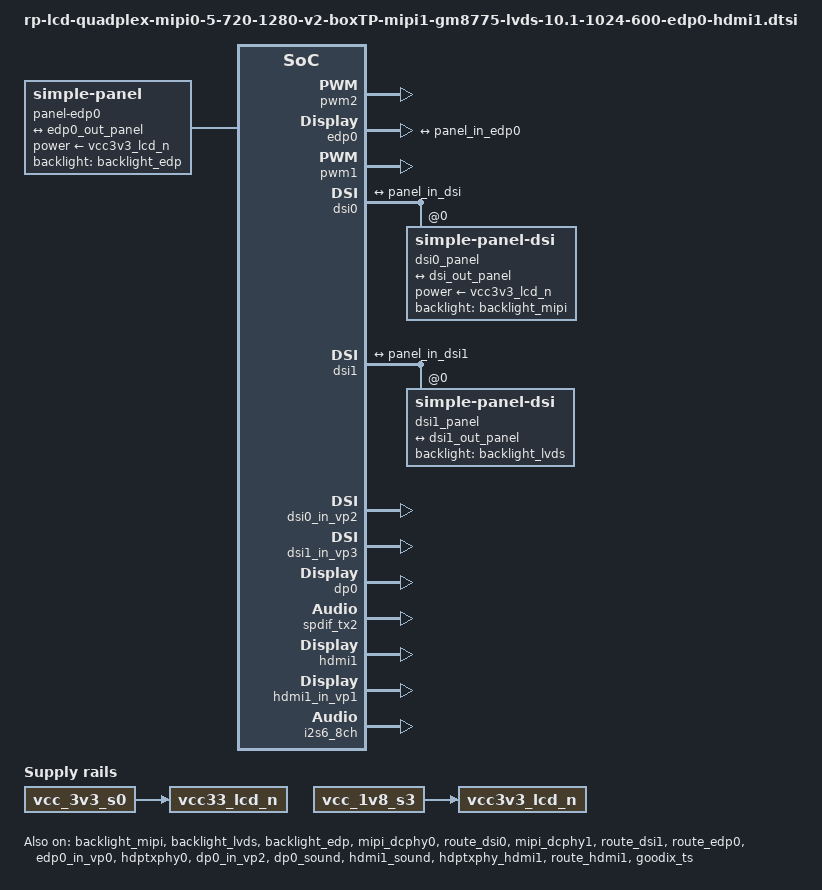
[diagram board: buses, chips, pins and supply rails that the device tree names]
/ {
    vcc33_lcd_n: vcc33-lcd-n {
		compatible = "regulator-fixed";
        regulator-name = "vcc33_lcd";
        regulator-boot-on;
        enable-active-high;
        vin-supply = <&vcc_3v3_s0>;
	};
    
    
    panel-edp0 {
        compatible = "simple-panel";
        backlight = <&backlight_edp>;
        power-supply = <&vcc3v3_lcd_n>;
    init-delay-ms = <120>;
        prepare-delay-ms = <120>;
        enable-delay-ms = <120>;
        unprepare-delay-ms = <120>;
        disable-delay-ms = <120>;
        width-mm = <129>;
        height-mm = <171>;

        panel-timing {
                        clock-frequency = <150000000>;
                        hactive = <1920>;
                        vactive = <1080>;
                        hfront-porch = <160>;
                        hsync-len = <32>;
                        hback-porch = <160>;
                        vfront-porch = <3>;
                        vsync-len = <5>;
                        vback-porch = <23>;
                        hsync-active = <0>;
                        vsync-active = <0>;
                        de-active = <0>;
                        pixelclk-active = <0>;
        };

        port {
            panel_in_edp0: endpoint {
                remote-endpoint = <&edp0_out_panel>;
            };
        };
    };

};


&backlight_mipi {
        compatible = "pwm-backlight";
        //pwms = <&pwm1 0 25000 0>;
        status = "okay";
        brightness-levels = <
              0  20  20  21  21  22  22  23
             23  24  24  25  25  26  26  27
             27  28  28  29  29  30  30  31
             31  32  32  33  33  34  34  35
             35  36  36  37  37  38  38  39
             40  41  42  43  44  45  46  47
             48  49  50  51  52  53  54  55
             56  57  58  59  60  61  62  63
             64  65  66  67  68  69  70  71
             72  73  74  75  76  77  78  79
             80  81  82  83  84  85  86  87
             88  89  90  91  92  93  94  95
             96  97  98  99 100 101 102 103
            104 105 106 107 108 109 110 111
            112 113 114 115 116 117 118 119
            120 121 122 123 124 125 126 127
            128 129 130 131 132 133 134 135
            136 137 138 139 140 141 142 143
            144 145 146 147 148 149 150 151
            152 153 154 155 156 157 158 159
            160 161 162 163 164 165 166 167
            168 169 170 171 172 173 174 175
            176 177 178 179 180 181 182 183
            184 185 186 187 188 189 190 191
            192 193 194 195 196 197 198 199
            200 201 202 203 204 205 206 207
            208 209 210 211 212 213 214 215
            216 217 218 219 220 221 222 223
            224 225 226 227 228 229 230 231
            232 233 234 235 236 237 238 239
            240 241 242 243 244 245 246 247
            248 249 250 251 252 253 254 255
        >;
        default-brightness-level = <200>;
    };


&pwm2 {
    status = "okay";
    pinctrl-0 = <&pwm2m1_pins>;
};
&backlight_lvds {
        compatible = "pwm-backlight";
        pwms = <&pwm2 0 25000 0>;
        status = "okay";
        brightness-levels = <
            80 82 84 86 88 90 92 94
            100 100 100 100 100 100 100 100
            110 110 110 110 110 110 110 110
            120 120 120 120 120 120 120 120
            130 130 130 130 130 130 130 130
            140 150 150 150 150 150 150 150
            170 170 170 170 170 170 170 170
            170 170 170 170 170 170 170 170
            180 180 180 180 180 180 180 180
            180 180 180 180 180 180 180 180
            190 190 190 190 190 190 190 190
            190 190 190 190 190 190 190 190
            200 200 200 200 200 200 200 200
            200 200 200 200 200 200 200 200
            200 200 200 200 200 200 200 200
            200 200 200 200 200 200 200 200
            200 200 200 200 200 200 200 200
            200 200 200 200 200 200 200 200
            200 200 200 200 200 200 200 200
            210 210 210 210 210 210 210 210
            220 220 220 220 220 220 220 220
            220 220 220 220 220 220 220 220
            220 220 220 220 220 220 220 220
            230 230 230 230 230 230 230 230
            230 230 230 230 230 230 230 230
            230 230 230 230 230 230 230 230
            240 240 240 240 240 240 240 240
            240 240 240 240 240 240 240 240
            240 240 240 240 240 240 240 240
            240 240 240 240 240 240 240 240
            240 241 242 243 244 245 246 247
            248 249 250 251 252 253 254 255
        >;
        default-brightness-level = <200>;
    };


&backlight_edp {
        compatible = "pwm-backlight";
        pwms = <&pwm0 0 25000 1>;
        status = "okay";
        brightness-levels = <
            80 82 84 86 88 90 92 94
            100 100 100 100 100 100 100 100
            110 110 110 110 110 110 110 110
            120 120 120 120 120 120 120 120
            130 130 130 130 130 130 130 130
            140 150 150 150 150 150 150 150
            170 170 170 170 170 170 170 170
            170 170 170 170 170 170 170 170
            180 180 180 180 180 180 180 180
            180 180 180 180 180 180 180 180
            190 190 190 190 190 190 190 190
            190 190 190 190 190 190 190 190
            200 200 200 200 200 200 200 200
            200 200 200 200 200 200 200 200
            200 200 200 200 200 200 200 200
            200 200 200 200 200 200 200 200
            200 200 200 200 200 200 200 200
            200 200 200 200 200 200 200 200
            200 200 200 200 200 200 200 200
            210 210 210 210 210 210 210 210
            220 220 220 220 220 220 220 220
            220 220 220 220 220 220 220 220
            220 220 220 220 220 220 220 220
            230 230 230 230 230 230 230 230
            230 230 230 230 230 230 230 230
            230 230 230 230 230 230 230 230
            240 240 240 240 240 240 240 240
            240 240 240 240 240 240 240 240
            240 240 240 240 240 240 240 240
            240 240 240 240 240 240 240 240
            240 241 242 243 244 245 246 247
            248 249 250 251 252 253 254 255
        >;
        default-brightness-level = <200>;
};

&edp0 {
    force-hpd;
    status = "okay";

    ports {
        port@1 {
            reg = <1>;

            edp0_out_panel: endpoint {
                remote-endpoint = <&panel_in_edp0>;
            };
        };
    };
};


&vcc3v3_lcd_n {
  compatible = "regulator-fixed";
  regulator-name = "vcc3v3_lcd0_n";
  regulator-boot-on;
  enable-active-high;
  //gpio = <&gpio4 RK_PC2 GPIO_ACTIVE_HIGH>;
  vin-supply = <&vcc_1v8_s3>;
};

&pwm1 {
    status = "okay";
    pinctrl-0 = <&pwm1m1_pins>;
};





&dsi0 {
    status = "okay";
    //rockchip,lane-rate = <480000>;
    dsi0_panel: panel@0 {
        status = "okay";
        compatible = "simple-panel-dsi";
        reg = <0>;
        power-supply = <&vcc3v3_lcd_n>;
        //reset-gpios = <&gpio4 RK_PC6 GPIO_ACTIVE_LOW>;
        //pinctrl-names = "default";
        //pinctrl-0 = <&lcd_rst_gpio>;
        backlight = <&backlight_mipi>;
    init-delay-ms = <60>;
        reset-delay-ms = <60>;
        enable-delay-ms = <60>;
        prepare-delay-ms = <60>;
        unprepare-delay-ms = <60>;
        disable-delay-ms = <60>;
        dsi,flags = <(MIPI_DSI_MODE_VIDEO | MIPI_DSI_MODE_VIDEO_BURST |
            MIPI_DSI_MODE_LPM | MIPI_DSI_MODE_EOT_PACKET)>;
        dsi,format = <MIPI_DSI_FMT_RGB888>;
        dsi,lanes  = <4>;

        panel-init-sequence = [
            39 00 04 B9 F1 12 83

            39 00 1C BA 33 81 05 F9 0E 0E 20 00 00 00 00 00 00 00 44 25 00 91 0A 00 00 02 4F D1 00 00 37

            39 00 02 B8 26

            39 00 04 BF 02 10 00

            39 00 0B B3 07 0B 1E 1E 03 FF 00 00 00 00

            39 00 0A C0 73 73 50 50 00 00 08 70 00

            39 00 02 BC 46

            39 00 02 CC 0B

            39 00 02 B4 80

            39 00 04 B2 C8 12 A0

            39 00 0F E3 07 07 0B 0B 03 0B 00 00 00 00 FF 80 C0 10

            39 00 0D C1 53 00 32 32 77 F1 FF FF CC CC 77 77

            39 00 03 B5 09 09

            39 00 03 B6 B7 B7

            39 00 40 E9 C2 10 0A 00 00 81 80 12 30 00 37 86 81 80 37 18 00 05 00 00 00 00 00 05 00 00 00 00 F8 BA 46 02 08 28 88 88 88 88 88 F8 BA 57 13 18 38 88 88 88 88 88 00 00 00 03 00 00 00 00 00 00 00 00 00

            39 00 3E EA 07 12 01 01 02 3C 00 00 00 00 00 00 8F BA 31 75 38 18 88 88 88 88 88 8F BA 20 64 28 08 88 88 88 88 88 23 10 00 00 04 00 00 00 00 00 00 00 00 00 00 00 00 00 00 00 00 00 00 00 00 00 00

            39 00 23 E0 00 02 04 1A 23 3F 2C 28 05 09 0B 10 11 10 12 12 19 00 02 04 1A 23 3F 2C 28 05 09 0B 10 11 10 12 12 19

            05 ff 01 11 ////Sleep Out

            05 32 01 29 ///Display On
        ];

        panel-exit-sequence = [
            05 78 01 28
            05 78 01 10
        ];

        disp_timings1: display-timings {
            native-mode = <&dsi0_timing0>;
            dsi0_timing0: timing0 {
                               clock-frequency = <50000000>;
                                hactive = <720>;
                                vactive = <1280>;
                                hback-porch = <40>;
                                hfront-porch = <40>;
                                vback-porch = <11>;
                                vfront-porch = <16>;
                                hsync-len = <10>;
                                vsync-len = <3>;
                hsync-active = <0>;
                vsync-active = <0>;
                de-active = <0>;
                pixelclk-active = <0>;   
                
                
                
            };
        };

        ports {
            #address-cells = <1>;
            #size-cells = <0>;

            port@0 {
                reg = <0>;
                panel_in_dsi: endpoint {
                    remote-endpoint = <&dsi_out_panel>;
                };
            };
        };
    };

    ports {
        #address-cells = <1>;
        #size-cells = <0>;

        port@1{
            reg = <1>;
            dsi_out_panel: endpoint {
                remote-endpoint = <&panel_in_dsi>;
            };
        };
    };

};

&dsi1 {
    status = "okay";

    rockchip,lane-rate = <444000>;
    dsi1_panel: panel@0 {
        status = "okay";
        compatible = "simple-panel-dsi";
        reg = <0>;

//enable-gpios = <&gpio3 RK_PC6 GPIO_ACTIVE_LOW>;

     /*note: dsi0 uses the same pin,so dsi can not be configed*/
        /delete-property/ reset-gpios;
       /delete-property/ pinctrl-names;
        /delete-property/ pinctrl-0;

        backlight = <&backlight_lvds>;
    init-delay-ms = <60>;
        reset-delay-ms = <60>;
        enable-delay-ms = <60>;
        prepare-delay-ms = <60>;
        unprepare-delay-ms = <60>;
        disable-delay-ms = <60>;
        dsi,flags = <(MIPI_DSI_MODE_VIDEO | MIPI_DSI_MODE_VIDEO_BURST |
            MIPI_DSI_MODE_LPM | MIPI_DSI_MODE_EOT_PACKET)>;
        dsi,format = <MIPI_DSI_FMT_RGB888>;
        dsi,lanes  = <4>;
        
        panel-init-sequence = [
                       
                        23 08 02 27 AA
                        23 08 02 48 02
                        23 08 02 B6 20
                        23 08 02 01 00
                        23 08 02 02 58
                        23 08 02 03 24
                        23 08 02 04 50
                        23 08 02 05 12
                        23 08 02 06 50
                        23 08 02 07 00
                        23 08 02 08 18
                        23 08 02 09 04
                        23 08 02 0A 18
                        23 08 02 0B 82
                        23 08 02 0C 1F
                        23 08 02 0D 01
                        23 08 02 0E 80
                        23 08 02 0F 20
                        23 08 02 10 20
                        23 08 02 11 03
                        23 08 02 12 1B
                        23 08 02 13 07
                        23 08 02 14 34
                        23 08 02 15 20
                        23 08 02 16 10
                        23 08 02 17 00
                        23 08 02 18 01
                        23 08 02 19 23
                        23 08 02 1A 40
                        23 08 02 1B 00
                        23 08 02 1E 46
                        23 08 02 51 30
                        23 08 02 1F 10
                        23 08 02 2A 01
        

        
        
                        05 78 01 11    //sleep out
                        05 20 01 29    //display on
        ];
        
        panel-exit-sequence = [
            05 78 01 28
            05 78 01 10
        ];

        disp_timings0: display-timings {
            native-mode = <&dsi1_timing1>;
            dsi1_timing1: timing1 {
                 clock-frequency = <50000000>;
                        hactive = <1024>;
                        vactive = <600>;
                        hback-porch = <80>;
                        hfront-porch = <80>;
                        vback-porch = <24>;
                        vfront-porch = <24>;
                        hsync-len = <18>;
                        vsync-len = <4>;
                        hsync-active = <0>;
                        vsync-active = <0>;
                        de-active = <0>;
                        pixelclk-active = <0>;
            
             
            };
        };

        ports {
            #address-cells = <1>;
            #size-cells = <0>;

            port@0 {
                reg = <0>;
                panel_in_dsi1: endpoint {
                    remote-endpoint = <&dsi1_out_panel>;
                };
            };
        };
    };

    ports {
        #address-cells = <1>;
        #size-cells = <0>;

        port@1 {
            reg = <1>;
            dsi1_out_panel: endpoint {
                remote-endpoint = <&panel_in_dsi1>;
            };
        };
    };
};

/*dis0--->dcphy0--->vp2*/
&vp2_out_dsi0{
    remote-endpoint = <&dsi0_in_vp2>;
};

&dsi0_in_vp2 {  
    status = "okay";
};

&dsi0_in_vp3 {
    status = "disabled";
};
&mipi_dcphy0 {
    status = "okay";
};


&route_dsi0 {
    status = "okay";
    connect = <&vp2_out_dsi0>;
};



/*dis1--->dcphy1--->vp3*/
&dsi1_in_vp2 {
    status = "disabled";
};

&vp3_out_dsi1 {
    remote-endpoint = <&dsi1_in_vp3>;
};
 
&dsi1_in_vp3 {      
    status = "okay"; 
};
&mipi_dcphy1 {
    status = "okay";
};


&route_dsi1 {
    status = "okay";
    connect = <&vp3_out_dsi1>;
};




/****edp0****/

&edp0 {
    force-hpd;
    status = "okay";

    ports {
        port@1 {
            reg = <1>;

            edp0_out_panel: endpoint {
                remote-endpoint = <&panel_in_edp0>;
            };
        };
    };
};

&route_edp0 {
  status = "okay";
    connect = <&vp0_out_edp0>;
};


&edp0_in_vp0 {
    status = "okay";
};

&edp0_in_vp1 {
    status = "disabled";
};

&edp0_in_vp2 {
    status = "disabled";
};

&hdptxphy0 {
    status = "okay";
};

&dp0 {
    status = "okay";
};

&dp0_in_vp2 {
    status = "okay";
};

&dp0_sound{
        status = "okay";
};

&spdif_tx2 {
        status = "okay";
};

           

/**** hdmi1 ****/                 
&hdmi1 { 
    status = "okay";
    pinctrl-names = "default";
    pinctrl-0 = <&hdmim2_tx1_cec &hdmim0_tx1_hpd &hdmim2_tx1_scl &hdmim2_tx1_sda>;
};

&hdmi1_in_vp1 {
    status = "okay";
};

&hdmi1_sound {
    status = "okay";
};

&i2s6_8ch {
        status = "okay";
};


&hdptxphy_hdmi1 {
    status = "okay";
};


&route_hdmi1 {
        status = "okay";
        connect = <&vp1_out_hdmi1>;
};



&goodix_ts {
        status = "okay";
        compatible = "goodix,gt9xx";
        reg = <0x5d>;
        gtp_resolution_x = <1920>;
        gtp_resolution_y = <1080>;
        gtp_int_tarigger = <1>;
        gtp_change_x2y = <0>;
        gtp_overturn_x = <0>;
        gtp_overturn_y = <0>;
        gtp_send_cfg = <1>;
        gtp_touch_wakeup = <1>;

        goodix,cfg-group0 = [
         43 80 07 38 04 0A 3D 00 01 06
         28 08 55 32 03 05 00 00 00 00
         00 00 06 18 1A 1E 14 95 35 FF
         2D 2F A6 0F 00 00 00 01 03 2C
         00 00 00 00 00 00 00 00 00 00
         00 2D 5A 94 D0 42 00 08 00 04
         79 30 00 6E 37 00 65 3F 00 5D
         49 00 57 54 00 57 00 00 00 00
         00 00 00 00 00 00 00 00 00 00
         00 00 00 00 00 00 00 00 00 00
         00 00 00 00 00 00 00 00 00 00
         00 00 1D 1C 1B 1A 19 18 17 16
         15 14 13 12 11 10 0F 0E 0D 0C
         0B 0A 09 08 07 06 05 04 03 02
         01 00 00 01 02 03 04 05 06 07
         08 09 0A 0B 0C 0D 0E 0F 10 11
         12 13 14 15 16 17 18 19 1B 1C
         1D 1E 1F 20 21 22 23 24 25 26
         27 28 29 2A 86 01
        ];
};
